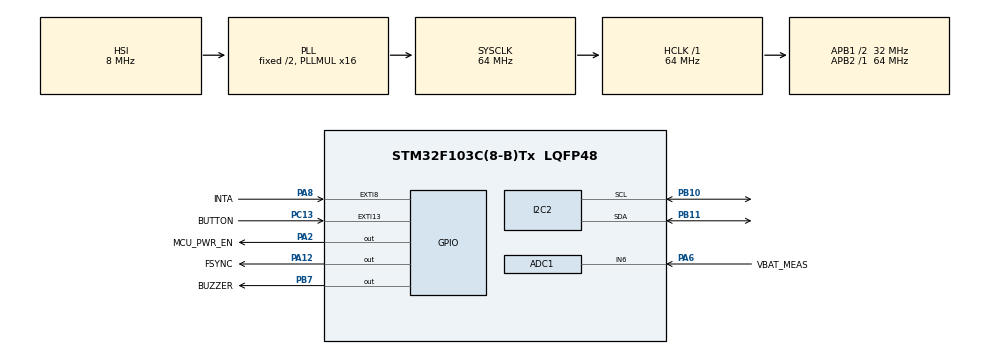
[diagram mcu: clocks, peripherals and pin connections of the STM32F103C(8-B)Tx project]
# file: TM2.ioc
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ADC1.Channel-1\#ChannelRegularConversion=ADC_CHANNEL_6
ADC1.ContinuousConvMode=ENABLE
ADC1.NbrOfConversion=1
ADC1.NbrOfConversionFlag=1
ADC1.Rank-1\#ChannelRegularConversion=1
ADC1.SamplingTime-1\#ChannelRegularConversion=ADC_SAMPLETIME_239CYCLES_5
ADC1.master=1
I2C2.I2C_Mode=I2C_Fast
Mcu.Family=STM32F1
Mcu.Name=STM32F103C(8-B)Tx
Mcu.Package=LQFP48
NVIC.ADC1_2_IRQn=true\:5\:0\:true\:false\:true\:true\:true\:true
NVIC.EXTI15_10_IRQn=true\:0\:0\:false\:false\:true\:true\:true\:true
NVIC.EXTI9_5_IRQn=true\:0\:0\:false\:false\:true\:true\:true\:true
NVIC.PriorityGroup=NVIC_PRIORITYGROUP_4
NVIC.TIM4_IRQn=true\:0\:0\:false\:false\:true\:true\:true\:true
PA12.GPIO_Label=FSYNC
PA12.Signal=GPIO_Output
PA13.Mode=Trace_Asynchronous_SW
PA13.Signal=SYS_JTMS-SWDIO
PA14.Mode=Trace_Asynchronous_SW
PA14.Signal=SYS_JTCK-SWCLK
PA2.GPIO_Label=MCU_PWR_EN
PA2.Signal=GPIO_Output
PA6.GPIO_Label=VBAT_MEAS
PA6.Signal=ADCx_IN6
PA8.GPIO_Label=INTA
PA8.GPIO_PuPd=GPIO_PULLDOWN
PA8.Signal=GPXTI8
PB10.GPIO_Pu=GPIO_PULLUP
PB10.Mode=I2C
PB10.Signal=I2C2_SCL
PB11.GPIO_Pu=GPIO_PULLUP
PB11.Mode=I2C
PB11.Signal=I2C2_SDA
PB3.Mode=Trace_Asynchronous_SW
PB3.Signal=SYS_JTDO-TRACESWO
PB7.GPIO_Label=BUZZER
PB7.Signal=GPIO_Output
PC13-TAMPER-RTC.GPIO_Label=BUTTON
PC13-TAMPER-RTC.GPIO_ModeDefaultEXTI=GPIO_MODE_IT_RISING_FALLING
PC13-TAMPER-RTC.Signal=GPXTI13
PC14-OSC32_IN.Mode=LSE-External-Oscillator
PC14-OSC32_IN.Signal=RCC_OSC32_IN
PC15-OSC32_OUT.Mode=LSE-External-Oscillator
PC15-OSC32_OUT.Signal=RCC_OSC32_OUT
ProjectManager.HeapSize=0x600
ProjectManager.StackSize=0xF00
ProjectManager.TargetToolchain=STM32CubeIDE
RCC.ADCPresc=RCC_ADCPCLK2_DIV8
RCC.AHBFreq_Value=64000000
RCC.APB1CLKDivider=RCC_HCLK_DIV2
RCC.APB1Freq_Value=32000000
RCC.APB1TimFreq_Value=64000000
RCC.APB2Freq_Value=64000000
RCC.APB2TimFreq_Value=64000000
RCC.HCLKFreq_Value=64000000
RCC.PLLMUL=RCC_PLL_MUL16
RCC.RTCClockSelection=RCC_RTCCLKSOURCE_LSE
RCC.SYSCLKFreq_VALUE=64000000
RCC.SYSCLKSource=RCC_SYSCLKSOURCE_PLLCLK
RCC.USBFreq_Value=64000000
RTC.Date=1
RTC.Year=22
SH.ADCx_IN6.0=ADC1_IN6,IN6
TIM4.AutoReloadPreload=TIM_AUTORELOAD_PRELOAD_ENABLE
TIM4.Period=3199
TIM4.Prescaler=7
VP_RTC_No_RTC_Output.Mode=RTC_OUT_NO
VP_RTC_VS_RTC_Activate.Mode=RTC_Enabled
VP_RTC_VS_RTC_Calendar.Mode=RTC_Calendar
VP_TIM4_VS_ClockSourceINT.Mode=Internal
board=custom

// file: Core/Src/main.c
/* USER CODE BEGIN Header */
/**
  ******************************************************************************
  * @file           : main.c
  * @brief          : Main program body
  ******************************************************************************
  * @attention
  *
  * <h2><center>&copy; Copyright (c) 2020 STMicroelectronics.
  * All rights reserved.</center></h2>
  *
  * This software component is licensed by ST under BSD 3-Clause license,
  * the "License"; You may not use this file except in compliance with the
  * License. You may obtain a copy of the License at:
  *                        opensource.org/licenses/BSD-3-Clause
  *
  ******************************************************************************
  */
/* USER CODE END Header */
#include "main.h"
#include "adc.h"
#include "i2c.h"
#include "rtc.h"
#include "tim.h"
#include "gpio.h"

/* USER CODE BEGIN Includes */
#include "MPU6050.h"
#include "pressure_sensor.h"
#include "OLED.h"
#include <stdio.h>
#include "menu.h"
#include "button.h"
#include "battery_managment.h"
/* USER CODE END Includes */

/* USER CODE BEGIN PV */
/*Structure for initialization MPU6050.*/
struct MPU6050_ctx MPU6050 =
{
    .sample_rate_div        = 255,
    .dlpf_acc_bandwidth     = MPU6050_BANDWIDTH_260,
    .gyro_full_scale_range  = MPU6050_GYRO_FULL_SCALE_1000,
    .acc_full_scale_range   = MPU6050_ACC_FULL_SCALE_2,
    .fifo_data_enable_mask  = MPU6050_ACCEL_FIFO_EN | MPU6050_ZG_FIFO_EN | MPU6050_YG_FIFO_EN | MPU6050_XG_FIFO_EN | MPU6050_TEMP_FIFO_EN | MPU6050_SLV0_FIFO_EN,
    .clock_select           = MPU6050_PLL_X_GYRO,

    .master.master_clock_speed = MPU6050_I2C_CLOCK_SPEED_400,
    .master.mult_mst_en        = false,
    .master.wait_for_es        = true,
    .master.mst_p_nsr          = true,
    .master.slave_delay        = 0,
    .i2c_bypass_en             = false,

    .slave[0].addr      = QMC588L_ADDR,
    .slave[0].RW        = true,
    .slave[0].reg_addr  = QMC588L_XOUT_L,
    .slave[0].byte_swap = false,
    .slave[0].reg_dis   = false,
    .slave[0].group     = false,
    .slave[0].len       = 6,
    .slave[0].en        = true,

    .int_pin.level = true,
    .int_pin.open = false,
    .int_pin.latch_en = false,
    .int_pin.rd_clear = false,
    .fsync_int_level = false,
    .fsync_int_en = false,
    .i2c_bypass_en = false,

    .interrupt_en_mask = MPU6050_INT_DATA_RDY_EN | MPU6050_INT_FIFO_OFLOW_EN | MPU6050_INT_MST_EN,
    .fifo_en    = true,
    .i2c_mst_en = true,

    .QMC5883L_ctx.mode = QMC5883L_MODE_CONTINUOUS,
    .QMC5883L_ctx.output_data_rate = QMC5883L_ODR_10,
    .QMC5883L_ctx.full_scale = QMC5883L_RNG_8G,
    .QMC5883L_ctx.over_sample_ratio = QMC5883L_OSR_512
};
/* USER CODE END PV */

void SystemClock_Config(void);

int main(void)
{

  /* MCU Configuration--------------------------------------------------------*/

  /* Reset of all peripherals, Initializes the Flash interface and the Systick. */
  HAL_Init();

  /* Configure the system clock */
  SystemClock_Config();

  /* Initialize all configured peripherals */
  MX_GPIO_Init();
  MX_I2C2_Init();
  MX_ADC1_Init();
  MX_RTC_Init();
  MX_TIM4_Init();
  /* USER CODE BEGIN 2 */
  MPU6050_deinit();
  HAL_Delay(50);
  pressure_sensor_set_sensor_mode(PRESSURE_SENSOR_ULTRA_HIGH_RESOLUTION);
  pressure_sensor_read_calib_data();

  MPU6050_init(&MPU6050);

  OLED_Init();
  OLED_setDisplayOn();
  menu_process_init();
  HAL_ADC_Start_IT(&hadc1);
  battery_managment_voltage_stabilizer_turn_on();
//  HAL_TIM_Base_Start_IT(&htim4);
  /* USER CODE END 2 */

  /* Infinite loop */
  /* USER CODE BEGIN WHILE */
  while (1)
  {
//    QMC5883L_process();
    menu_process();
    button_process();
    OLED_update();
    HAL_Delay(50);
    /* USER CODE END WHILE */

  }
}

void SystemClock_Config(void)
{
  RCC_OscInitTypeDef RCC_OscInitStruct = {0};
  RCC_ClkInitTypeDef RCC_ClkInitStruct = {0};
  RCC_PeriphCLKInitTypeDef PeriphClkInit = {0};

  /** Initializes the RCC Oscillators according to the specified parameters
  * in the RCC_OscInitTypeDef structure.
  */
  RCC_OscInitStruct.OscillatorType = RCC_OSCILLATORTYPE_HSI|RCC_OSCILLATORTYPE_LSE;
  RCC_OscInitStruct.LSEState = RCC_LSE_ON;
  RCC_OscInitStruct.HSIState = RCC_HSI_ON;
  RCC_OscInitStruct.HSICalibrationValue = RCC_HSICALIBRATION_DEFAULT;
  RCC_OscInitStruct.PLL.PLLState = RCC_PLL_ON;
  RCC_OscInitStruct.PLL.PLLSource = RCC_PLLSOURCE_HSI_DIV2;
  RCC_OscInitStruct.PLL.PLLMUL = RCC_PLL_MUL16;
  if (HAL_RCC_OscConfig(&RCC_OscInitStruct) != HAL_OK)
  {
    Error_Handler();
  }

  /** Initializes the CPU, AHB and APB buses clocks
  */
  RCC_ClkInitStruct.ClockType = RCC_CLOCKTYPE_HCLK|RCC_CLOCKTYPE_SYSCLK
                              |RCC_CLOCKTYPE_PCLK1|RCC_CLOCKTYPE_PCLK2;
  RCC_ClkInitStruct.SYSCLKSource = RCC_SYSCLKSOURCE_PLLCLK;
  RCC_ClkInitStruct.AHBCLKDivider = RCC_SYSCLK_DIV1;
  RCC_ClkInitStruct.APB1CLKDivider = RCC_HCLK_DIV2;
  RCC_ClkInitStruct.APB2CLKDivider = RCC_HCLK_DIV1;

  if (HAL_RCC_ClockConfig(&RCC_ClkInitStruct, FLASH_LATENCY_2) != HAL_OK)
  {
    Error_Handler();
  }
  PeriphClkInit.PeriphClockSelection = RCC_PERIPHCLK_RTC|RCC_PERIPHCLK_ADC;
  PeriphClkInit.RTCClockSelection = RCC_RTCCLKSOURCE_LSE;
  PeriphClkInit.AdcClockSelection = RCC_ADCPCLK2_DIV8;
  if (HAL_RCCEx_PeriphCLKConfig(&PeriphClkInit) != HAL_OK)
  {
    Error_Handler();
  }
}

/* USER CODE BEGIN 4 */

void main_goto_stop_mode(void)
{
	OLED_setDisplayOff();
	MPU6050_deinit();
	HAL_Delay(50);
	MPU6050_sleep();
	HAL_SuspendTick();
	HAL_PWR_EnterSTOPMode(PWR_LOWPOWERREGULATOR_ON, PWR_SLEEPENTRY_WFI);
}

void main_goto_normal_mode(void)
{
	HAL_Init();
	SystemClock_Config();
	OLED_setDisplayOn();
	MPU6050_init(&MPU6050);
}

void HAL_TIM_PeriodElapsedCallback(TIM_HandleTypeDef* htim)
{
    HAL_GPIO_TogglePin(BUZZER_GPIO_Port, BUZZER_Pin);
}
/* USER CODE END 4 */

void Error_Handler(void)
{
}
